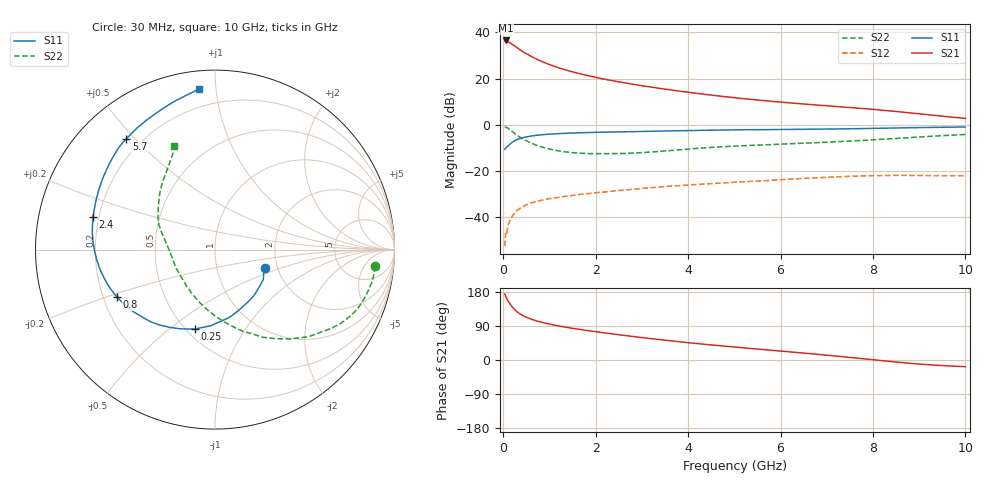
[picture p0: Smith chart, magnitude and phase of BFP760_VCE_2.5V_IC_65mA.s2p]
! Infineon Technologies  Discrete & RF Semiconductors
! BFP760
! VCE =  2.5 V,  IC =  65 mA
! Common Emitter S-Parameters:  Nov 2012
# GHz  S  MA  R  50
!  f  S11  S21  S12  S22
! GHz  MAG  ANG  MAG  ANG  MAG  ANG  MAG  ANG
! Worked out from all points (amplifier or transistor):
!   99 points, 30 MHz to 10 GHz, reference 50 ohm
!   highest |S21| = 36.5 dB at 50 MHz (marker M1)
!   |S21| within 3 dB of that: start of sweep to 292.3 MHz
!   unconditionally stable (mu >= 1): 3.031 GHz to end of sweep
!   at 350 MHz: K = 0.44, MSG = 34.4 dB, |S12| = -36.2 dB
!   at 3.5 GHz: K = 1.03, MAG = 19.9 dB, |S12| = -26.7 dB
!   at 10 GHz: K = 1.05, MAG = 11.0 dB, |S12| = -22.0 dB
!   S11 on the Smith chart (normalised r, x): 30 MHz: 1.71, -0.39; 250 MHz: 0.55, -0.62; 800 MHz: 0.26, -0.21; 2.4 GHz: 0.18, +0.13; 5.7 GHz: 0.14, +0.47; 10 GHz: 0.10, +0.90
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0.03  0.2957 -20.4  64.8 174.1  0.0024 85.0  0.896 -5.9
0.04  0.3025 -26.3  65.22 172.1  0.0029 84.6  0.8965 -8.7
0.05  0.3161 -31.5  66.6 169.1  0.0045 85.2  0.8945 -11.2
0.07  0.3265 -43.7  66.18 163.9  0.0043 74.2  0.8801 -16.5
0.09  0.3405 -54.1  64.38 159.2  0.0057 75.7  0.864 -21.4
0.15  0.3874 -78.7  59.26 147.4  0.0087 66.2  0.7799 -34.4
0.2  0.4255 -93.5  54.54 139.2  0.0109 62.3  0.7118 -43.0
0.25  0.457 -104.4  50.66 132.6  0.0125 60.0  0.6493 -50.1
0.3  0.481 -113.3  46.54 127.1  0.0141 56.9  0.5975 -56.1
0.35  0.5026 -120.6  42.65 122.7  0.0155 55.0  0.5541 -61.7
0.45  0.5374 -131.3  36.78 115.6  0.0176 51.5  0.4839 -70.8
0.6  0.5729 -143.1  30.35 108.0  0.0206 47.6  0.4059 -82.8
0.8  0.6076 -154.3  24.22 100.5  0.0232 44.5  0.3417 -96.3
1.2  0.6477 -169.3  17.14 89.9  0.0273 41.7  0.2744 -118.7
1.7  0.6767 178.0  12.46 79.9  0.0317 41.0  0.2428 -140.0
2.4  0.7027 165.2  8.865 68.3  0.0374 40.7  0.2399 -161.9
3.4  0.7338 150.2  6.119 53.6  0.0457 39.4  0.2684 174.7
5.1  0.7823 132.8  3.779 33.2  0.0583 35.1  0.3517 153.8
5.7  0.7904 128.7  3.302 26.8  0.0628 33.6  0.3725 148.3
6.7  0.8071 121.7  2.725 16.1  0.0713 29.5  0.4102 139.8
8.5  0.8585 104.8  1.949 -5.4  0.0812 17.5  0.5085 122.4
10  0.9004 95.7  1.381 -17.6  0.0796 12.0  0.6207 111.8
